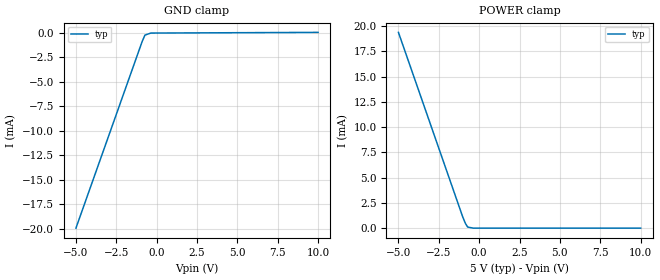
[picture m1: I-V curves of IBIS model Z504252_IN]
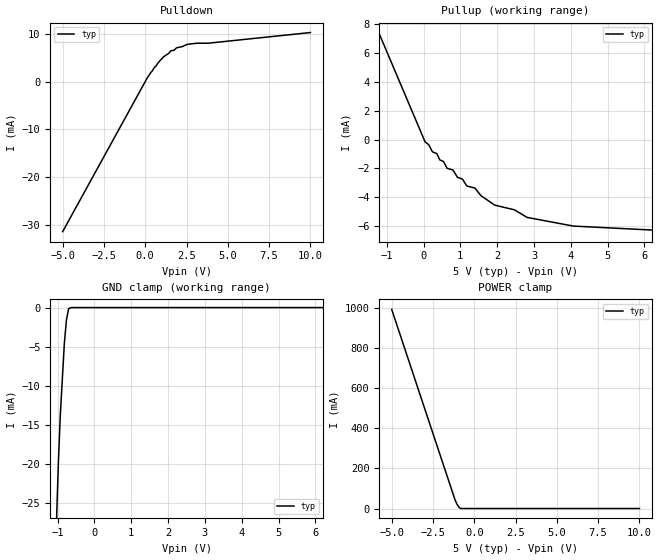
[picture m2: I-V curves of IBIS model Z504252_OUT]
| YOU ARE ONLY AUTHORIZED TO USE THIS SOFTWARE
| ACCORDING TO LICENSOR'S LICENSE RESTRICTIONS.
[IBIS Ver] 3.1
[File Name] mc74hc4543n.ibs
[File Rev] 2.0
[Source] Measured and created by ICX Technology
[Date] Friday 7/14/00 9:08:10 AM
[Copyright]
| (C) COPYRIGHT 1993-2000
| MENTOR GRAPHICS CORPORATION
| ICX STANDARD LIBRARY, ICX PROJECT MODELING,
| ICX CUSTOM MODELING, ICX VENDOR MODEL
| ALL RIGHTS RESERVED.
| THE FOLLOWING ARE TRADEMARKS OR SERVICE MARKS OF
| MENTOR GRAPHICS CORPORATION:ICX (R), ICX STANDARD
| LIBRARY(R), ICX PROJECT MODELING(R), ICX CUSTOM
| MODELING(R), qualityIBIS(TM), MODELVIEWER(TM),
| AND MODELEDITOR(TM)
| ALL COPIES OF SOFTWARE, INCLUDING BUT NOT LIMITED TO
| ANY MODIFICATIONS, ENHANCEMENTS OR DERIVATIVE WORKS,
| MUST CONTAIN ALL MENTOR GRAPHICS CORPORATION'S
| NOTICES AND LEGENDS, INCLUDING THOSE EMBEDDED IN
| SOFTWARE AND THOSE AFFIXED TO SOFTWARE MEDIUM
| AND CONTAINER, AS RECEIVED FROM MENTOR GRAPHICS
| CORPORATION.
|  ZAP Model Builder 2.7
[Component] MC74HC4543N
[Manufacturer] OnSemiconductor
[Package]
| variable   typ   min   max
R_pkg  .212ohms NA NA
L_pkg  4.758nH NA NA
C_pkg  1.143pF NA NA
[Pin] signal_name  model_name  R_pin  L_pin C_pin
1 L Z504252_IN .224 7.258n 1.578p
2 D2 Z504252_IN .216 5.258n 1.288p
3 D1 Z504252_IN .208 3.758n .998p
4 D3 Z504252_IN .2 2.758n .708p
5 D0 Z504252_IN .2 2.758n .708p
6 PCLK Z504252_IN .208 3.758n .998p
7 BI Z504252_IN .216 5.258n 1.288p
8 GROUND GND .224 7.258n 1.578p
9 A Z504252_OUT .224 7.258n 1.578p
10 B Z504252_OUT .216 5.258n 1.288p
11 C Z504252_OUT .208 3.758n .998p
12 D Z504252_OUT .2 2.758n .708p
13 E Z504252_OUT .2 2.758n .708p
14 G Z504252_OUT .208 3.758n .998p
15 F Z504252_OUT .216 5.258n 1.288p
16 VCC POWER .224 7.258n 1.578p
| Models and submodels in the file (2): Z504252_IN (Input), Z504252_OUT (Output)
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| (C) COPYRIGHT 1993-2000
| MENTOR GRAPHICS CORPORATION
| ICX STANDARD LIBRARY, ICX PROJECT MODELING,
| ICX CUSTOM MODELING, ICX VENDOR MODEL
| ALL RIGHTS RESERVED.
| THE FOLLOWING ARE TRADEMARKS OR SERVICE MARKS OF
| MENTOR GRAPHICS CORPORATION:ICX (R), ICX STANDARD
| LIBRARY(R), ICX PROJECT MODELING(R), ICX CUSTOM
| MODELING(R), qualityIBIS(TM), MODELVIEWER(TM),
| AND MODELEDITOR(TM)
| ALL COPIES OF SOFTWARE, INCLUDING BUT NOT LIMITED TO
| ANY MODIFICATIONS, ENHANCEMENTS OR DERIVATIVE WORKS,
| MUST CONTAIN ALL MENTOR GRAPHICS CORPORATION'S
| NOTICES AND LEGENDS, INCLUDING THOSE EMBEDDED IN
| SOFTWARE AND THOSE AFFIXED TO SOFTWARE MEDIUM
| AND CONTAINER, AS RECEIVED FROM MENTOR GRAPHICS
| CORPORATION.
| Model Application Version 1.89 2/18/99.
[Model] Z504252_IN
Model_type Input
Vinl = 1.000V
Vinh = 3.500V
C_comp 4.000pF NA NA
| variable typ   min   max
[Voltage Range] 5.000V NA NA
[GND Clamp Reference] 0.000V NA NA
[POWER Clamp Reference] 5.000V NA NA
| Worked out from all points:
|   POWER clamp passes 1 mA (typ) near -0.99 V on its own axis
[GND Clamp]
-5V       -19.93mA   NA         NA
-898.4mV  -897uA     NA         NA
-728.5mV  -242.8uA   NA         NA
-364.3mV  -31.14uA   NA         NA
10V       39.5uA     NA         NA
[POWER Clamp]
-5V       19.37mA    NA         NA
-1.021V   1.127mA    NA         NA
-848mV    457.5uA    NA         NA
-710mV    105.8uA    NA         NA
-355mV    0A         NA         NA
10V       0A         NA         NA
| (C) COPYRIGHT 1993-2000
| MENTOR GRAPHICS CORPORATION
| ICX STANDARD LIBRARY, ICX PROJECT MODELING,
| ICX CUSTOM MODELING, ICX VENDOR MODEL
| ALL RIGHTS RESERVED.
| THE FOLLOWING ARE TRADEMARKS OR SERVICE MARKS OF
| MENTOR GRAPHICS CORPORATION:ICX (R), ICX STANDARD
| LIBRARY(R), ICX PROJECT MODELING(R), ICX CUSTOM
| MODELING(R), qualityIBIS(TM), MODELVIEWER(TM),
| AND MODELEDITOR(TM)
| ALL COPIES OF SOFTWARE, INCLUDING BUT NOT LIMITED TO
| ANY MODIFICATIONS, ENHANCEMENTS OR DERIVATIVE WORKS,
| MUST CONTAIN ALL MENTOR GRAPHICS CORPORATION'S
| NOTICES AND LEGENDS, INCLUDING THOSE EMBEDDED IN
| SOFTWARE AND THOSE AFFIXED TO SOFTWARE MEDIUM
| AND CONTAINER, AS RECEIVED FROM MENTOR GRAPHICS
| CORPORATION.
| Model Application Version 1.89 2/18/99.
[Model] Z504252_OUT
Model_type Output
Vref=0.000V
Rref=500.0Mohms
Cref=50.00pF
Vmeas=2.500V
C_comp 8.000pF NA NA
| variable typ   min   max
[Voltage Range] 5.000V NA NA
[POWER Clamp Reference] 5.000V NA NA
[Pullup Reference] 5.000V NA NA
[Pulldown Reference] 0.000V NA NA
[GND Clamp Reference] 0.000V NA NA
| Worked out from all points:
|   slope of the pulldown table from 0 to 0.75 V, typ, clamps not added: 200 ohm
|   slope of the pullup table from 0 to 0.75 V, typ, clamps not added: 345 ohm
|   GND clamp passes 1 mA (typ) near -0.74 V on its own axis
|   POWER clamp passes 1 mA (typ) near -0.84 V on its own axis
[GND Clamp]
-5V       -867.1mA   NA         NA
-1.103V   -37.93mA   NA         NA
-981.1mV  -19.93mA   NA         NA
-927.8mV  -13.75mA   NA         NA
-818.9mV  -4.645mA   NA         NA
-762.5mV  -1.624mA   NA         NA
-702.6mV  -143.5uA   NA         NA
-632.3mV  0A         NA         NA
10V       0A         NA         NA
[Pulldown]
-5V       -31.39mA   NA         NA
130.2mV   836.2uA    NA         NA
566.4mV   3.053mA    NA         NA
820.9mV   4.131mA    NA         NA
1.118V    5.224mA    NA         NA
1.44V     5.972mA    NA         NA
1.537V    6.431mA    NA         NA
1.756V    6.59mA     NA         NA
1.914V    7.098mA    NA         NA
2.592V    7.835mA    NA         NA
3.809V    8.046mA    NA         NA
10V       10.28mA    NA         NA
[Pullup]
-5V       30.23mA    NA         NA
42mV      -157.2uA   NA         NA
640mV     -1.992mA   NA         NA
801mV     -2.115mA   NA         NA
1.178V    -3.225mA   NA         NA
1.397V    -3.366mA   NA         NA
1.558V    -3.889mA   NA         NA
1.933V    -4.548mA   NA         NA
2.472V    -4.878mA   NA         NA
2.812V    -5.401mA   NA         NA
4.068V    -6.003mA   NA         NA
10V       -6.768mA   NA         NA
[POWER Clamp]
-5V       990.9mA    NA         NA
-1.162V   42.37mA    NA         NA
-1.045V   21.27mA    NA         NA
-902mV    4.478mA    NA         NA
-829mV    420.3uA    NA         NA
-759.9mV  0A         NA         NA
10V       0A         NA         NA
[Ramp]
| variable typ min max
dV/dt_r 1.488/3.744n NA NA
dV/dt_f 1.488/2.770n NA NA
R_load = 500.0Ohms
